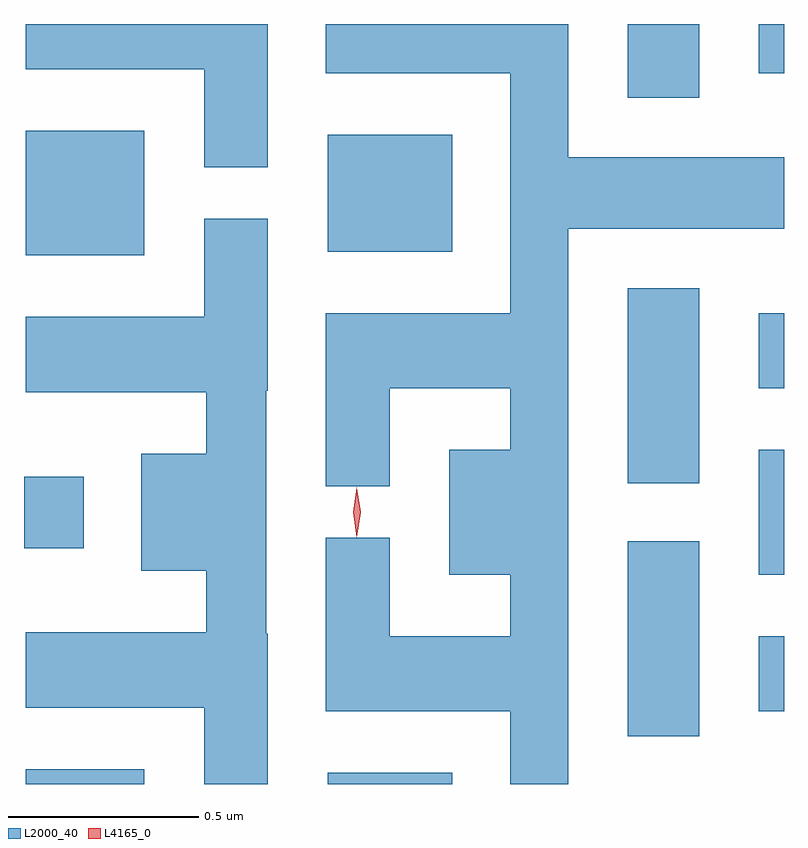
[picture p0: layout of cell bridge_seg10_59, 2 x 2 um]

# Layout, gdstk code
import gdstk
lib = gdstk.Library(unit=1e-6, precision=1e-09)
def R(c, l, rs):  # rectangles x0, y0, x1, y1
    for r in rs: c.add(gdstk.rectangle(r[:2], r[2:], *l))
def P(c, l, *ps):  # polygons
    for p in ps: c.add(gdstk.Polygon(p, *l))
L2000_40 = (2000, 40)
L4165_0 = (4165, 0)

bridge_seg10_59 = lib.new_cell('bridge_seg10_59')
R(bridge_seg10_59, L2000_40, [(1624.131,2161.735,1624.444,2161.774), (1624.926,2161.735,1625.254,2161.764), (1625.716,2161.861,1625.904,2162.374), (1626.061,2161.926,1626.127,2162.124), (1626.061,2162.286,1626.127,2162.614), (1624.127,2162.356,1624.284,2162.544), (1625.716,2162.526,1625.904,2163.039), (1626.061,2162.776,1626.127,2162.974), (1624.131,2163.126,1624.444,2163.454), (1624.926,2163.136,1625.254,2163.444), (1625.716,2163.541,1625.904,2163.735), (1626.061,2163.606,1626.127,2163.735)])
P(bridge_seg10_59, L2000_40, [(1625.559,2163.196),(1626.127,2163.196),(1626.127,2163.384),(1625.559,2163.384),(1625.559,2163.735),(1624.921,2163.735),(1624.921,2163.606),(1625.406,2163.606),(1625.406,2162.974),(1624.921,2162.974),(1624.921,2162.518),(1625.089,2162.518),(1625.089,2162.776),(1625.406,2162.776),(1625.406,2162.614),(1625.246,2162.614),(1625.246,2162.286),(1625.406,2162.286),(1625.406,2162.124),(1625.089,2162.124),(1625.089,2162.383),(1624.921,2162.383),(1624.921,2161.926),(1625.406,2161.926),(1625.406,2161.735),(1625.559,2161.735)],
  [(1624.769,2163.735),(1624.131,2163.735),(1624.131,2163.616),(1624.601,2163.616),(1624.601,2163.358),(1624.769,2163.358)],
  [(1624.769,2162.13),(1624.764,2162.13),(1624.764,2162.77),(1624.769,2162.77),(1624.769,2163.223),(1624.601,2163.223),(1624.601,2162.964),(1624.131,2162.964),(1624.131,2162.766),(1624.606,2162.766),(1624.606,2162.604),(1624.436,2162.604),(1624.436,2162.296),(1624.606,2162.296),(1624.606,2162.134),(1624.131,2162.134),(1624.131,2161.936),(1624.601,2161.936),(1624.601,2161.735),(1624.769,2161.735)])
P(bridge_seg10_59, L4165_0, [(1625.003,2162.384),(1625.002,2162.385),(1624.993,2162.45),(1625.002,2162.515),(1625.003,2162.516),(1625.003,2162.515),(1625.013,2162.45),(1625.003,2162.385)])

lib.write_gds('bridge_seg10_59.gds')
